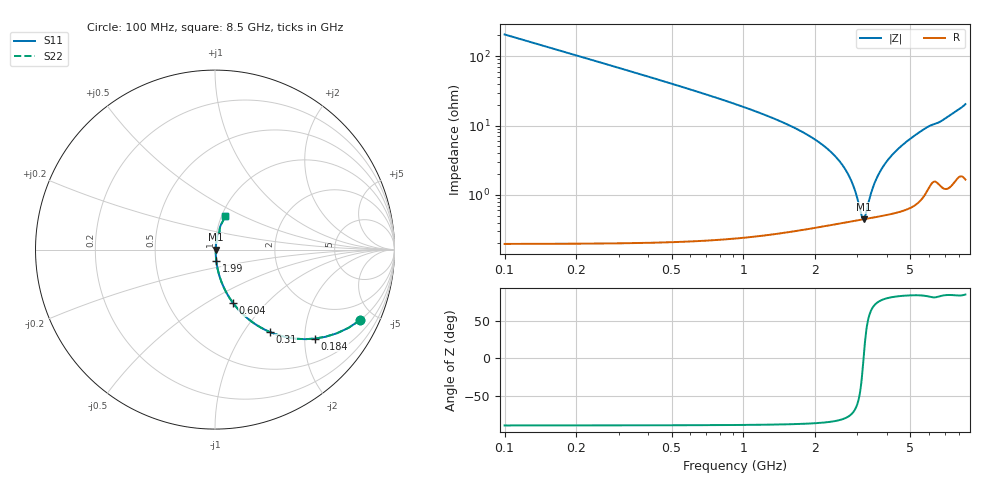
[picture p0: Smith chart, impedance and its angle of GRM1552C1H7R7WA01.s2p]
!Murata Part Number: GRM1552C1H7R7WA01
!These Parameters are Measured in Series Mode Connection
!Data Generated on Mar 30, 2021
!  o--ll--o
!Port1  Port2
!  o------o
!Operation Temp=25[degC], DC Bias Voltage=0[V]
!Freq. Start=100[MHz] Stop=9[GHz] 401[Steps]
# Hz S RI R 50
!Freq.(Hz) S11(Real) S11(Imag) S21(Real) S21(Imag) S12(Real) S12(Imag) S22(Real) S22(Imag)
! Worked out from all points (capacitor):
!   401 points, 100 MHz to 8.5 GHz, reference 50 ohm
!   read as one part in series: C = 7.7 pF near 142 MHz
!   lowest |Z| = 445 mohm at 3.187 GHz (marker M1)
!   series resonance near 3.184 GHz, so ESL is about 320 pH
!   S11 on the Smith chart (normalised r, x): 100 MHz: 1.00, -4.13; 184 MHz: 1.00, -2.24; 310 MHz: 1.00, -1.32; 604 MHz: 1.00, -0.66; 1.99 GHz: 1.01, -0.13; 8.5 GHz: 1.03, +0.41
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1e8  0.8098 -0.392  0.1902 0.392  0.1902 0.392  0.8098 -0.392
1.84e8  0.5561 -0.496  0.4439 0.496  0.4439 0.496  0.5561 -0.496
3.1e8  0.3042 -0.4586  0.6958 0.4586  0.6958 0.4586  0.3042 -0.4586
4.36e8  0.1789 -0.3811  0.8211 0.3811  0.8211 0.3811  0.1789 -0.3811
6.04e8  0.0996 -0.2963  0.9004 0.2963  0.9004 0.2963  0.0996 -0.2963
9.82e8  0.0371 -0.1828  0.9629 0.1828  0.9629 0.1828  0.0371 -0.1828
1.507e9  0.0139 -0.1045  0.9861 0.1045  0.9861 0.1045  0.0139 -0.1045
1.99e9  0.00728 -0.0626  0.9927 0.0626  0.9927 0.0626  0.00728 -0.0626
2.557e9  0.00469 -0.0285  0.9953 0.0285  0.9953 0.0285  0.00469 -0.0285
2.746e9  0.00442 -0.0192  0.9956 0.0192  0.9956 0.0192  0.00442 -0.0192
2.914e9  0.00433 -0.0115  0.9957 0.0115  0.9957 0.0115  0.00433 -0.0115
3.124e9  0.00439 -0.00247  0.9956 0.00247  0.9956 0.00247  0.00439 -0.00247
3.187e9  0.00443 0.000121  0.9956 -0.000121  0.9956 -0.000121  0.00443 0.000121
3.25e9  0.00449 0.00267  0.9955 -0.00267  0.9955 -0.00267  0.00449 0.00267
3.46e9  0.00478 0.0109  0.9952 -0.0109  0.9952 -0.0109  0.00478 0.0109
3.628e9  0.0051 0.0171  0.9949 -0.0171  0.9949 -0.0171  0.0051 0.0171
3.922e9  0.00583 0.0276  0.9942 -0.0276  0.9942 -0.0276  0.00583 0.0276
4.3e9  0.00708 0.0405  0.9929 -0.0405  0.9929 -0.0405  0.00708 0.0405
4.909e9  0.00995 0.0604  0.9901 -0.0604  0.9901 -0.0604  0.00995 0.0604
5.707e9  0.0171 0.0862  0.9829 -0.0862  0.9829 -0.0862  0.0171 0.0862
7.114e9  0.0284 0.1258  0.9716 -0.1258  0.9716 -0.1258  0.0284 0.1258
8.5e9  0.0543 0.1893  0.9457 -0.1893  0.9457 -0.1893  0.0543 0.1893
